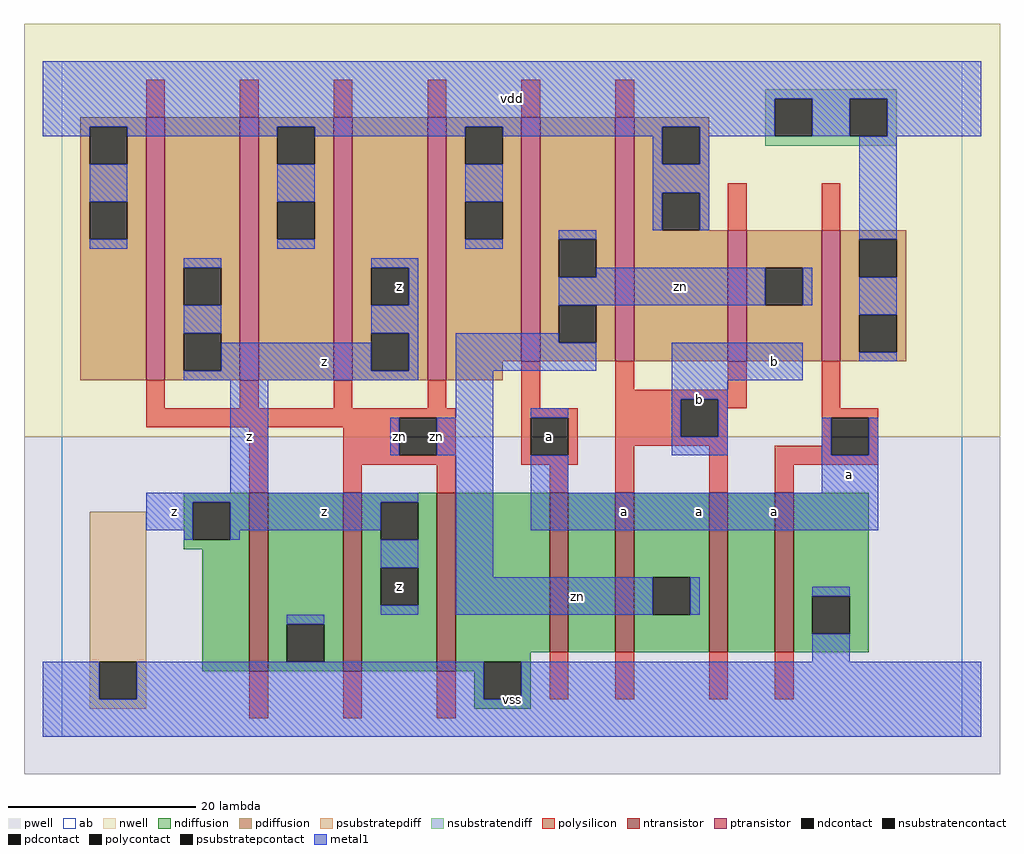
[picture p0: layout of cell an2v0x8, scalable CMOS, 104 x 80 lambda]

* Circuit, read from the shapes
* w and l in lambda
.subckt an2v0x8 a b vdd vss z zn
M1 vss zn z vss nfet w=19 l=2 m=3
M2 n1 a vss vss nfet w=17 l=2
M3 zn b n1 vss nfet w=17 l=2
M4 n2 b zn vss nfet w=17 l=2
M5 vss a n2 vss nfet w=17 l=2
M6 z zn vdd vdd pfet w=28 l=2 m=4
M7 zn a vdd vdd pfet w=26 l=2
M8 vdd b zn vdd pfet w=26 l=2
M9 zn b vdd vdd pfet w=14 l=2
M10 vdd a zn vdd pfet w=14 l=2
.ends

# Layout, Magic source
magic
tech scmos
<< ab >>
rect 0 0 96 72
<< pwell >>
rect -4 -4 100 32
<< nwell >>
rect -4 32 100 76
<< polysilicon >>
rect 9 66 11 70
rect 19 66 21 70
rect 29 66 31 70
rect 39 66 41 70
rect 49 66 51 70
rect 59 66 61 70
rect 71 54 73 59
rect 81 54 83 59
rect 9 35 11 38
rect 19 35 21 38
rect 29 35 31 38
rect 39 35 41 38
rect 49 35 51 40
rect 59 37 61 40
rect 71 37 73 40
rect 59 36 73 37
rect 9 34 42 35
rect 9 33 36 34
rect 20 26 22 33
rect 30 30 36 33
rect 40 30 42 34
rect 30 29 42 30
rect 49 34 55 35
rect 49 30 50 34
rect 54 30 55 34
rect 49 29 55 30
rect 59 32 66 36
rect 70 35 73 36
rect 81 35 83 40
rect 70 32 71 35
rect 59 31 71 32
rect 81 34 87 35
rect 81 31 82 34
rect 30 26 32 29
rect 40 26 42 29
rect 52 26 54 29
rect 59 26 61 31
rect 69 26 71 31
rect 76 30 82 31
rect 86 30 87 34
rect 76 29 87 30
rect 76 26 78 29
rect 20 2 22 7
rect 30 2 32 7
rect 40 2 42 7
rect 52 4 54 9
rect 59 4 61 9
rect 69 4 71 9
rect 76 4 78 9
<< ndiffusion >>
rect 13 25 20 26
rect 13 21 14 25
rect 18 21 20 25
rect 13 20 20 21
rect 15 7 20 20
rect 22 12 30 26
rect 22 8 24 12
rect 28 8 30 12
rect 22 7 30 8
rect 32 25 40 26
rect 32 21 34 25
rect 38 21 40 25
rect 32 18 40 21
rect 32 14 34 18
rect 38 14 40 18
rect 32 7 40 14
rect 42 9 52 26
rect 54 9 59 26
rect 61 17 69 26
rect 61 13 63 17
rect 67 13 69 17
rect 61 9 69 13
rect 71 9 76 26
rect 78 15 86 26
rect 78 11 80 15
rect 84 11 86 15
rect 78 9 86 11
rect 42 8 50 9
rect 42 7 45 8
rect 44 4 45 7
rect 49 4 50 8
rect 44 3 50 4
<< pdiffusion >>
rect 2 65 9 66
rect 2 61 3 65
rect 7 61 9 65
rect 2 57 9 61
rect 2 53 3 57
rect 7 53 9 57
rect 2 38 9 53
rect 11 50 19 66
rect 11 46 13 50
rect 17 46 19 50
rect 11 43 19 46
rect 11 39 13 43
rect 17 39 19 43
rect 11 38 19 39
rect 21 65 29 66
rect 21 61 23 65
rect 27 61 29 65
rect 21 57 29 61
rect 21 53 23 57
rect 27 53 29 57
rect 21 38 29 53
rect 31 50 39 66
rect 31 46 33 50
rect 37 46 39 50
rect 31 43 39 46
rect 31 39 33 43
rect 37 39 39 43
rect 31 38 39 39
rect 41 65 49 66
rect 41 61 43 65
rect 47 61 49 65
rect 41 57 49 61
rect 41 53 43 57
rect 47 53 49 57
rect 41 40 49 53
rect 51 53 59 66
rect 51 49 53 53
rect 57 49 59 53
rect 51 46 59 49
rect 51 42 53 46
rect 57 42 59 46
rect 51 40 59 42
rect 61 65 69 66
rect 61 61 64 65
rect 68 61 69 65
rect 61 58 69 61
rect 61 54 64 58
rect 68 54 69 58
rect 61 40 71 54
rect 73 50 81 54
rect 73 46 75 50
rect 79 46 81 50
rect 73 40 81 46
rect 83 53 90 54
rect 83 49 85 53
rect 89 49 90 53
rect 83 45 90 49
rect 83 41 85 45
rect 89 41 90 45
rect 83 40 90 41
rect 41 38 47 40
<< metal1 >>
rect -2 68 98 72
rect -2 65 76 68
rect -2 64 3 65
rect 7 64 23 65
rect 3 57 7 61
rect 3 52 7 53
rect 27 64 43 65
rect 23 57 27 61
rect 23 52 27 53
rect 47 64 64 65
rect 43 57 47 61
rect 63 61 64 64
rect 68 64 76 65
rect 80 64 84 68
rect 88 64 98 68
rect 68 61 69 64
rect 63 58 69 61
rect 63 54 64 58
rect 68 54 69 58
rect 43 52 47 53
rect 53 53 57 54
rect 13 50 17 51
rect 13 43 17 46
rect 33 50 38 51
rect 37 46 38 50
rect 33 43 38 46
rect 85 53 89 64
rect 57 49 75 50
rect 53 46 75 49
rect 79 46 80 50
rect 17 39 33 42
rect 37 39 38 43
rect 13 38 38 39
rect 42 42 53 43
rect 85 45 89 49
rect 42 39 57 42
rect 18 26 22 38
rect 42 34 46 39
rect 65 38 79 42
rect 85 40 89 41
rect 65 36 71 38
rect 35 30 36 34
rect 40 30 46 34
rect 9 25 38 26
rect 9 22 14 25
rect 13 21 14 22
rect 18 22 34 25
rect 18 21 19 22
rect 34 18 38 21
rect 34 13 38 14
rect 42 17 46 30
rect 50 34 54 35
rect 65 32 66 36
rect 70 32 71 36
rect 65 30 71 32
rect 81 30 82 34
rect 86 30 87 34
rect 50 26 54 30
rect 81 26 87 30
rect 50 22 87 26
rect 42 13 63 17
rect 67 13 68 17
rect 80 15 84 16
rect 24 12 28 13
rect 80 8 84 11
rect -2 4 4 8
rect 8 4 45 8
rect 49 4 98 8
rect -2 0 98 4
<< ntransistor >>
rect 20 7 22 26
rect 30 7 32 26
rect 40 7 42 26
rect 52 9 54 26
rect 59 9 61 26
rect 69 9 71 26
rect 76 9 78 26
<< ptransistor >>
rect 9 38 11 66
rect 19 38 21 66
rect 29 38 31 66
rect 39 38 41 66
rect 49 40 51 66
rect 59 40 61 66
rect 71 40 73 54
rect 81 40 83 54
<< polycontact >>
rect 36 30 40 34
rect 50 30 54 34
rect 66 32 70 36
rect 82 30 86 34
<< ndcontact >>
rect 14 21 18 25
rect 24 8 28 12
rect 34 21 38 25
rect 34 14 38 18
rect 63 13 67 17
rect 80 11 84 15
rect 45 4 49 8
<< pdcontact >>
rect 3 61 7 65
rect 3 53 7 57
rect 13 46 17 50
rect 13 39 17 43
rect 23 61 27 65
rect 23 53 27 57
rect 33 46 37 50
rect 33 39 37 43
rect 43 61 47 65
rect 43 53 47 57
rect 53 49 57 53
rect 53 42 57 46
rect 64 61 68 65
rect 64 54 68 58
rect 75 46 79 50
rect 85 49 89 53
rect 85 41 89 45
<< psubstratepcontact >>
rect 4 4 8 8
<< nsubstratencontact >>
rect 76 64 80 68
rect 84 64 88 68
<< psubstratepdiff >>
rect 3 8 9 24
rect 3 4 4 8
rect 8 4 9 8
rect 3 3 9 4
<< nsubstratendiff >>
rect 75 68 89 69
rect 75 64 76 68
rect 80 64 84 68
rect 88 64 89 68
rect 75 63 89 64
<< labels >>
rlabel polysilicon 36 32 36 32 6 zn
rlabel metal1 12 24 12 24 6 z
rlabel metal1 28 24 28 24 6 z
rlabel metal1 20 32 20 32 6 z
rlabel metal1 28 40 28 40 6 z
rlabel metal1 48 4 48 4 6 vss
rlabel ndcontact 36 16 36 16 6 z
rlabel polycontact 52 32 52 32 6 a
rlabel metal1 40 32 40 32 6 zn
rlabel pdcontact 36 48 36 48 6 z
rlabel metal1 48 68 48 68 6 vdd
rlabel metal1 55 15 55 15 6 zn
rlabel metal1 60 24 60 24 6 a
rlabel metal1 76 24 76 24 6 a
rlabel metal1 68 24 68 24 6 a
rlabel metal1 76 40 76 40 6 b
rlabel metal1 68 36 68 36 6 b
rlabel metal1 84 28 84 28 6 a
rlabel metal1 66 48 66 48 6 zn
<< end >>
